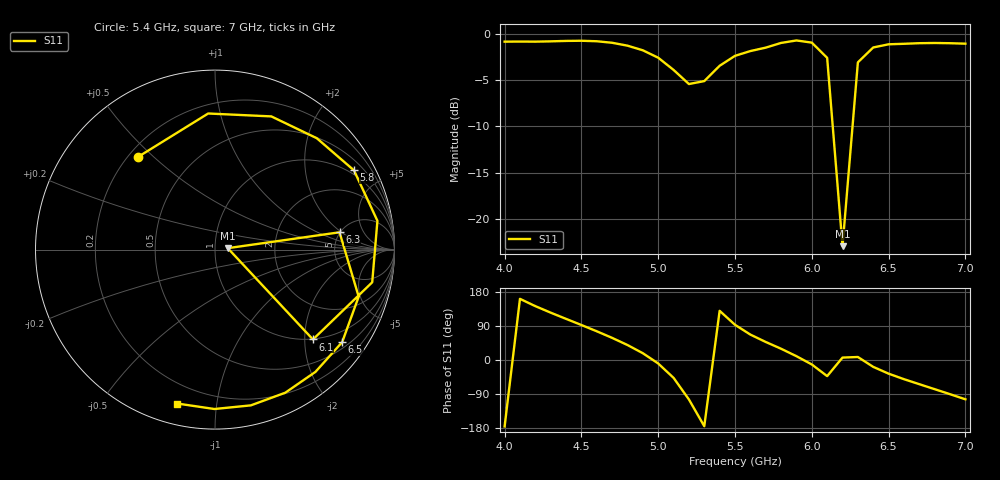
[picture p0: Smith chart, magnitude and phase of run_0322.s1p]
! Touchstone file exported from HFSS 2024.2.0
!  File:  C:/Users/wsak9/Desktop/Sim Fast/Widenad Patch/WP_AI_V1_sweep.aedt
!  Generated:  04:39:06 AM Oct 14, 2026
!  Design:  A1_model
!  Project:  WP_AI_V1_sweep
!  Setup:  Setup1
!  Solution:  Sweep
! Variables:
!  Air_gap = 2.62mm
!  Curve_Amp1 = 3.85
!  Curve_len1 = 1
!  Curve_pos = 10mm
!  Extra = 1.64mm
!  H_sub = 0.79mm
!  L_Patch = 16mm
!  L_Patch1 = 17.51mm
!  Sx = 0.97mm
!  Sy = 0.22mm
!  WS = 0.79mm
!  W_Patch = 10.54mm
!  W_Patch1 = 15.87mm
!Data is not renormalized
# GHz S MA
! Terminal data exported
! Port[1] = 1
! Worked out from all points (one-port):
!   31 points, 4 GHz to 7 GHz, reference per port
!   lowest |S11| = -22.9 dB at 6.2 GHz (marker M1), VSWR 1.15
!   |S11| at or under -10 dB: 6.136 GHz to 6.265 GHz (128.7 MHz wide, 2.08 % of centre)
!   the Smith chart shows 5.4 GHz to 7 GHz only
!   S11 on the Smith chart (normalised r, x): 5.4 GHz: 0.24, +0.45; 5.8 GHz: 0.84, +3.59; 6.1 GHz: 0.99, -2.19; 6.3 GHz: 4.94, +1.87; 6.5 GHz: 0.66, -2.94; 7 GHz: 0.10, -0.78
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4  0.9054 -175.4
4.1  0.9065 161.4
4.2  0.9055 142.1
4.3  0.9088 124.9
4.4  0.9137 108.6
4.5  0.9157 92.3
4.6  0.91 75.8
4.7  0.8929 58.4
4.8  0.8615 39.5
4.9  0.8133 17.9
5  0.7418 -9.2
5.1  0.6377 -47.1
5.2  0.5352 -104.1
5.3  0.5551 -174.7
5.4  0.6713 129.8
5.5  0.7592 92.9
5.6  0.8057 67.1
5.8  0.8913 29.7
5.9  0.919 10.0
6  0.8947 -11.8
6.1  0.7406 -42.5
6.2  0.07161 6.4
6.3  0.7005 7.9
6.4  0.8424 -18.1
6.5  0.8763 -36.0
6.7  0.8883 -63.8
6.9  0.8882 -90.2
7  0.8829 -103.7
